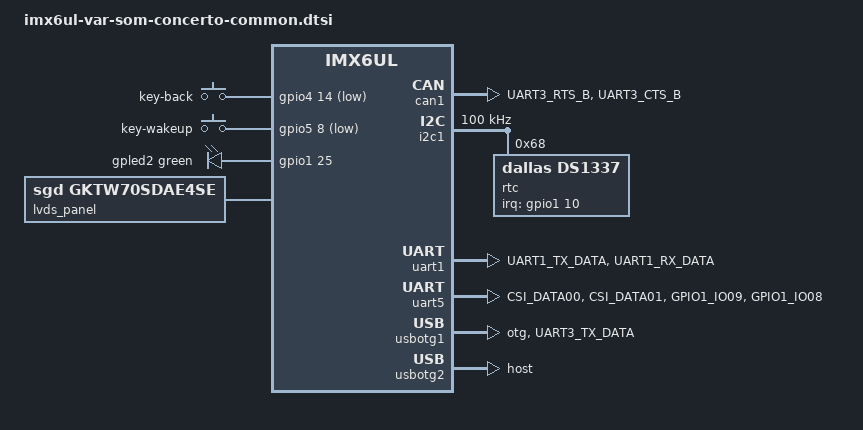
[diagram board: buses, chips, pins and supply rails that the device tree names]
// SPDX-License-Identifier: GPL-2.0+
/*
 * Support for Variscite Concerto Carrier board with the VAR-SOM-6UL
 * Variscite SoM mounted on it (all CPU variants)
 *
 * Copyright 2019 Variscite Ltd.
 * Copyright 2025 Bootlin
 */

#include <dt-bindings/leds/common.h>

/ {
	chosen {
		stdout-path = &uart1;
	};

	gpio-keys {
		compatible = "gpio-keys";
		pinctrl-names = "default";
		pinctrl-0 = <&pinctrl_gpio_key_back>, <&pinctrl_gpio_key_wakeup>;

		key-back {
			gpios = <&gpio4 14 GPIO_ACTIVE_LOW>;
			linux,code = <KEY_BACK>;
		};

		key-wakeup {
			gpios = <&gpio5 8 GPIO_ACTIVE_LOW>;
			linux,code = <KEY_WAKEUP>;
			wakeup-source;
		};
	};

	leds {
		compatible = "gpio-leds";
		pinctrl-names = "default";
		pinctrl-0 = <&pinctrl_gpio_leds>;

		led-0 {
			function = LED_FUNCTION_STATUS;
			color = <LED_COLOR_ID_GREEN>;
			label = "gpled2";
			gpios = <&gpio1 25 GPIO_ACTIVE_HIGH>;
			linux,default-trigger = "heartbeat";
		};
	};

	lvds_panel: lvds-panel {
		compatible = "sgd,gktw70sdae4se", "panel-lvds";
		data-mapping = "jeida-18";
		width-mm = <153>;
		height-mm = <86>;

		panel-timing {
			clock-frequency = <35000000>;
			hactive = <800>;
			vactive = <480>;
			hback-porch = <40>;
			hfront-porch = <40>;
			vback-porch = <29>;
			vfront-porch = <13>;
			hsync-len = <48>;
			vsync-len = <3>;
			hsync-active = <0>;
			vsync-active = <0>;
			de-active = <1>;
			pixelclk-active = <0>;
		};
	};
};

&can1 {
	pinctrl-names = "default";
	pinctrl-0 = <&pinctrl_flexcan1>;
	status = "okay";
};

&i2c1 {
	clock-frequency = <100000>;
	pinctrl-names = "default";
	pinctrl-0 = <&pinctrl_i2c1>;
	status = "okay";

	rtc@68 {
		/*
		 * To actually use this interrupt
		 * connect pins J14.8 & J14.10 on the Concerto-Board.
		 */
		compatible = "dallas,ds1337";
		reg = <0x68>;
		pinctrl-names = "default";
		pinctrl-0 = <&pinctrl_rtc>;
		interrupt-parent = <&gpio1>;
		interrupts = <10 IRQ_TYPE_EDGE_FALLING>;
	};
};

&iomuxc {
	pinctrl_flexcan1: flexcan1grp {
		fsl,pins = <
			MX6UL_PAD_UART3_RTS_B__FLEXCAN1_RX	0x1b020
			MX6UL_PAD_UART3_CTS_B__FLEXCAN1_TX	0x1b020
		>;
	};

	pinctrl_gpio_key_back: gpio-key-backgrp {
		fsl,pins = <
			MX6UL_PAD_NAND_CE1_B__GPIO4_IO14	0x17059
		>;
	};

	pinctrl_gpio_key_wakeup: gpio-keys-wakeupgrp {
		fsl,pins = <
			MX6UL_PAD_SNVS_TAMPER8__GPIO5_IO08	0x17059
		>;
	};

	pinctrl_gpio_leds: gpio-ledsgrp {
		fsl,pins = <
			MX6UL_PAD_UART3_RX_DATA__GPIO1_IO25	0x1b0b0	/* GPLED2 */
		>;
	};

	pinctrl_rtc: rtcgrp {
		fsl,pins = <
			MX6UL_PAD_JTAG_MOD__GPIO1_IO10		0x1b0b0 /* RTC alarm IRQ */
		>;
	};

	pinctrl_uart1: uart1grp {
		fsl,pins = <
			MX6UL_PAD_UART1_TX_DATA__UART1_DCE_TX	0x1b0b1
			MX6UL_PAD_UART1_RX_DATA__UART1_DCE_RX	0x1b0b1
		>;
	};

	pinctrl_uart5: uart5grp {
		fsl,pins = <
			MX6UL_PAD_CSI_DATA00__UART5_DCE_TX	0x1b0b1
			MX6UL_PAD_CSI_DATA01__UART5_DCE_RX	0x1b0b1
			MX6UL_PAD_GPIO1_IO09__UART5_DCE_CTS	0x1b0b1
			MX6UL_PAD_GPIO1_IO08__UART5_DCE_RTS	0x1b0b1
		>;
	};

	pinctrl_usb_otg1_id: usbotg1idgrp {
		fsl,pins = <
			MX6UL_PAD_UART3_TX_DATA__ANATOP_OTG1_ID	0x17059
		>;
	};

	pinctrl_wdog: wdoggrp {
		fsl,pins = <
			MX6UL_PAD_GPIO1_IO01__WDOG1_WDOG_B	0x78b0
		>;
	};
};

&snvs_pwrkey {
	status = "disabled";
};

&snvs_rtc {
	status = "disabled";
};

&tsc {
	/*
	 * Conflics with wdog1 ext-reset-output & SD CD pins,
	 * so we keep it disabled by default.
	 */
	status = "disabled";
};

/* Console UART */
&uart1 {
	pinctrl-names = "default";
	pinctrl-0 = <&pinctrl_uart1>;
	status = "okay";
};

/* ttymxc4 UART */
&uart5 {
	pinctrl-names = "default";
	pinctrl-0 = <&pinctrl_uart5>;
	uart-has-rtscts;
	status = "okay";
};

&usbotg1 {
	pinctrl-names = "default";
	pinctrl-0 = <&pinctrl_usb_otg1_id>;
	dr_mode = "otg";
	disable-over-current;
	srp-disable;
	hnp-disable;
	adp-disable;
	status = "okay";
};

&usbotg2 {
	dr_mode = "host";
	disable-over-current;
	status = "okay";
};

&wdog1 {
	pinctrl-names = "default";
	pinctrl-0 = <&pinctrl_wdog>;
	/*
	 * To actually use ext-reset-output
	 * connect pins J17.3 & J17.8 on the Concerto-Board
	 */
	fsl,ext-reset-output;
};
